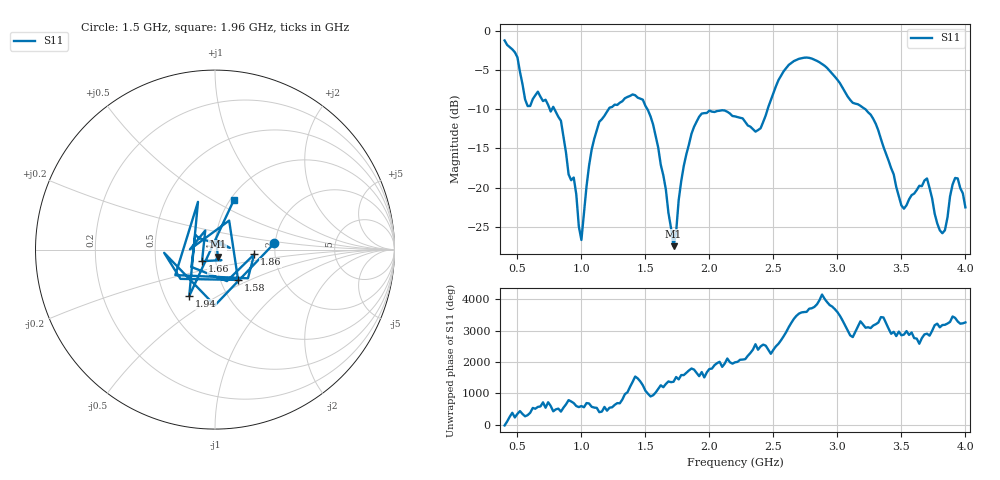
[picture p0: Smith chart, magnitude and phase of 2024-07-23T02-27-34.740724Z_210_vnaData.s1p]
!Created with skrf (http://scikit-rf.org).
# Hz S RI R 50.0
!freq ReS11 ImS11
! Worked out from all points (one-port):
!   181 points, 400 MHz to 4 GHz, reference 50 ohm
!   lowest |S11| = -27.5 dB at 1.72 GHz (marker M1), VSWR 1.09, Z = 51.5 - j4.04 ohm
!   |S11| at or under -10 dB: 788.5 MHz to 1.213 GHz (424.7 MHz wide, 42.4 % of centre); 1.515 GHz to 2.455 GHz (940.8 MHz wide, 47.4 % of centre); 3.216 GHz to end of sweep (the widest 3 of 4)
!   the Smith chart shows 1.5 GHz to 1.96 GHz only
!   S11 on the Smith chart (normalised r, x): 1.5 GHz: 1.97, +0.15; 1.58 GHz: 1.21, -0.43; 1.66 GHz: 0.86, -0.11; 1.86 GHz: 1.56, -0.09; 1.94 GHz: 0.66, -0.38; 1.96 GHz: 1.04, +0.63
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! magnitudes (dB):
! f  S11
! 400 MHz  -1.3
! 500 MHz  -3.4
! 580 MHz  -9.6
! 660 MHz  -7.8
! 860 MHz  -13.6
! 940 MHz  -18.7
! 1 GHz  -26.7
! 1.1 GHz  -13.8
! 1.3 GHz  -9.2
! 1.5 GHz  -9.6
! 1.58 GHz  -13.5
! 1.66 GHz  -20.3
! 1.72 GHz  -27.5
! 1.76 GHz  -21.6
! 1.86 GHz  -13.2
! 1.94 GHz  -10.6
! 1.96 GHz  -10.5
! 2.2 GHz  -10.9
! 2.4 GHz  -12.5
! 2.66 GHz  -3.9
! 3.1 GHz  -8.8
! 3.28 GHz  -11.3
! 3.5 GHz  -22.3
! 3.56 GHz  -21.5
! 3.7 GHz  -18.8
! 3.82 GHz  -25.8
! 3.92 GHz  -18.8
! 4 GHz  -22.5
